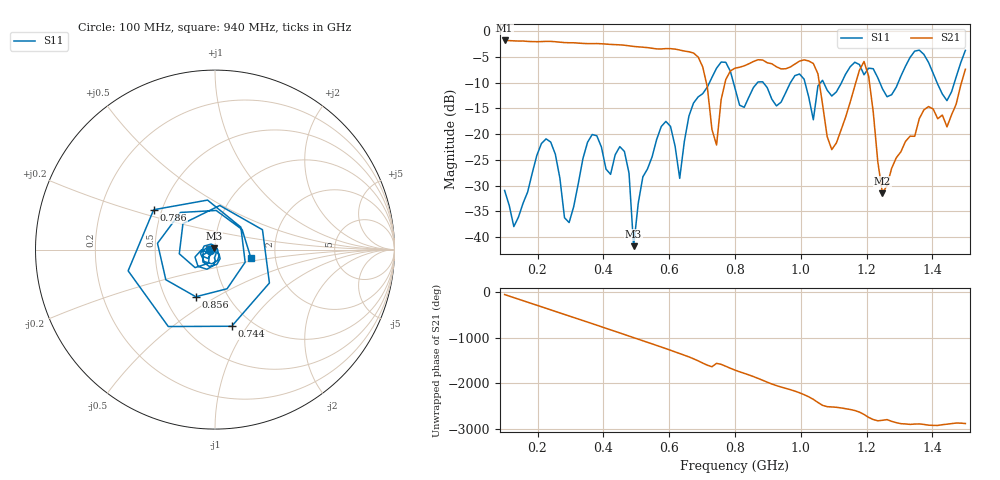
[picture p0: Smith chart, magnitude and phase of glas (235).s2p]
! NanoVNA-App
! Date: 2025-09-25 15:57:18
! Start: 100MHz Stop: 1,5GHz Points: 101
! S-Parameter data: F S11 S21 S12 S22
# Hz S RI R 50
!  Frequency  S11_Real  S11_Imag  S21_Real  S21_Imag  S12_Real  S12_Imag  S22_Real  S22_Imag
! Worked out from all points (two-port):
!   101 points, 100 MHz to 1.5 GHz, reference 50 ohm
!   highest |S21| = -1.80 dB at 100 MHz (marker M1); lowest = -31.5 dB at 1.248 GHz (marker M2)
!   |S21| within 3 dB of the highest: start of sweep to 684.1 MHz
!   lowest |S11| = -41.8 dB at 492 MHz (marker M3), VSWR 1.02, Z = 49.5 + j0.623 ohm
!   |S11| at or under -10 dB: start of sweep to 722.4 MHz; 795.4 MHz to 868.2 MHz (72.86 MHz wide, 8.76 % of centre); 886 MHz to 968.5 MHz (82.44 MHz wide, 8.89 % of centre) (the widest 3 of 7)
!   S12 and S22 are empty: the file has one direction only
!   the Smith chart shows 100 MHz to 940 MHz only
!   S11 on the Smith chart (normalised r, x): 100 MHz: 0.95, -0.01; 744 MHz: 0.81, -0.85; 786 MHz: 0.45, +0.24; 856 MHz: 0.71, -0.41; 940 MHz: 1.49, -0.14
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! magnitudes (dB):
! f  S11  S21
! 100 MHz  -30.9  -1.8
! 128 MHz  -38.0  -1.9
! 226 MHz  -20.9  -2.0
! 296 MHz  -37.2  -2.2
! 338 MHz  -24.7  -2.4
! 464 MHz  -23.4  -2.7
! 492 MHz  -41.8  -3.0
! 576 MHz  -18.5  -3.5
! 632 MHz  -28.6  -3.7
! 702 MHz  -12.1  -7.0
! 744 MHz  -7.2  -22.1
! 786 MHz  -7.8  -7.7
! 800 MHz  -11.1  -7.2
! 856 MHz  -10.9  -5.9
! 940 MHz  -13.8  -7.3
! 1.038 GHz  -17.2  -6.3
! 1.094 GHz  -12.6  -23.0
! 1.192 GHz  -8.5  -5.9
! 1.248 GHz  -11.2  -31.5
! 1.276 GHz  -12.3  -26.6
! 1.444 GHz  -13.5  -18.6
! 1.5 GHz  -3.7  -7.4
